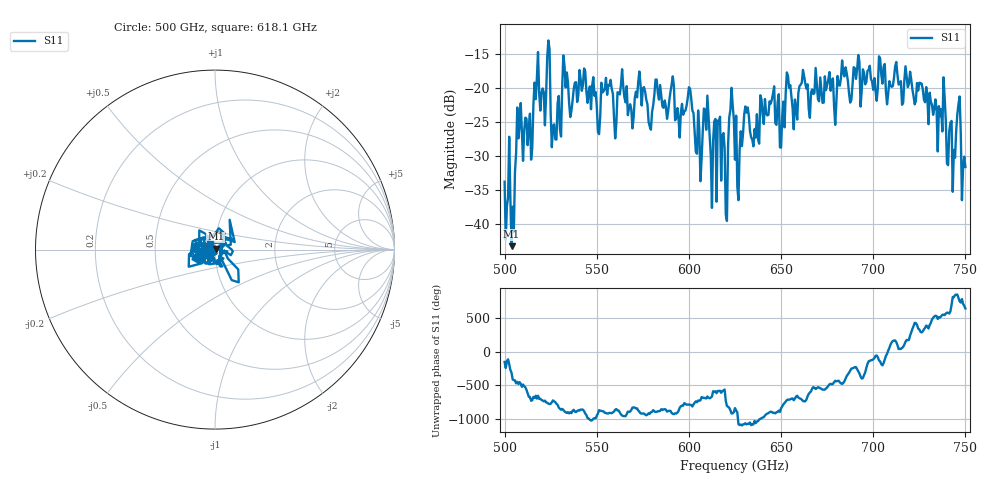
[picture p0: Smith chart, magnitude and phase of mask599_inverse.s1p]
!Created with skrf (http://scikit-rf.org).
# GHz S MA R 50.0
!freq magS11 angS11
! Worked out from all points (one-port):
!   401 points, 500 GHz to 750 GHz, reference 50 ohm
!   lowest |S11| = -43.3 dB at 503.8 GHz (marker M1), VSWR 1.01, Z = 50.5 + j0.512 ohm
!   |S11| at or under -10 dB: start of sweep to end of sweep
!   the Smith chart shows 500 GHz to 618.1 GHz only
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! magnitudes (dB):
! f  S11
! 500 GHz  -33.8
! 503.8 GHz  -43.3
! 507.5 GHz  -27.4
! 513.8 GHz  -23.7
! 516.9 GHz  -21.6
! 523.8 GHz  -13.0
! 526.9 GHz  -25.3
! 531.2 GHz  -19.7
! 562.5 GHz  -20.9
! 579.4 GHz  -26.1
! 590.6 GHz  -19.4
! 593.8 GHz  -22.9
! 600.6 GHz  -20.1
! 605.6 GHz  -26.0
! 609.4 GHz  -26.1
! 620 GHz  -38.6
! 623.1 GHz  -19.9
! 625 GHz  -30.5
! 627.5 GHz  -29.1
! 631.2 GHz  -23.6
! 635 GHz  -28.6
! 656.2 GHz  -22.9
! 687.5 GHz  -22.1
! 718.8 GHz  -19.8
! 738.1 GHz  -18.4
! 743.8 GHz  -29.1
! 746.2 GHz  -22.3
! 750 GHz  -31.6
